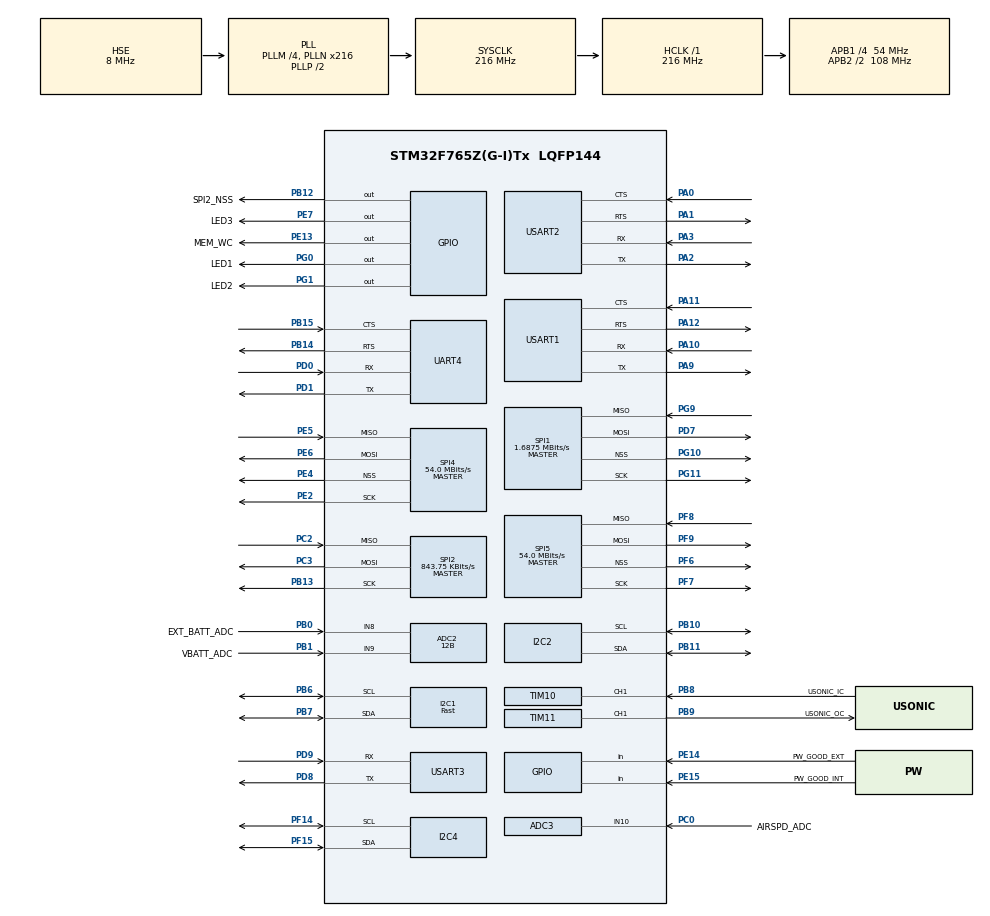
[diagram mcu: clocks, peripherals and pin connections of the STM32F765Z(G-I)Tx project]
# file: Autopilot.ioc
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ADC2.Channel-5\#ChannelRegularConversion=ADC_CHANNEL_8
ADC2.ClockPrescaler=ADC_CLOCK_SYNC_PCLK_DIV4
ADC2.ContinuousConvMode=DISABLE
ADC2.DMAContinuousRequests=DISABLE
ADC2.DataAlign=ADC_DATAALIGN_RIGHT
ADC2.DiscontinuousConvMode=DISABLE
ADC2.EOCSelection=ADC_EOC_SINGLE_CONV
ADC2.EnableAnalogWatchDog=false
ADC2.ExternalTrigConv=ADC_SOFTWARE_START
ADC2.ExternalTrigConvEdge=ADC_EXTERNALTRIGCONVEDGE_NONE
ADC2.InjNumberOfConversion=0
ADC2.NbrOfConversion=1
ADC2.NbrOfConversionFlag=1
ADC2.Rank-5\#ChannelRegularConversion=1
ADC2.Resolution=ADC_RESOLUTION_12B
ADC2.SamplingTime-5\#ChannelRegularConversion=ADC_SAMPLETIME_3CYCLES
ADC2.ScanConvMode=DISABLE
ADC3.Channel-0\#ChannelRegularConversion=ADC_CHANNEL_10
ADC3.ClockPrescaler=ADC_CLOCK_SYNC_PCLK_DIV4
ADC3.ContinuousConvMode=DISABLE
ADC3.DMAContinuousRequests=DISABLE
ADC3.DataAlign=ADC_DATAALIGN_RIGHT
ADC3.DiscontinuousConvMode=DISABLE
ADC3.EOCSelection=ADC_EOC_SINGLE_CONV
ADC3.EnableAnalogWatchDog=false
ADC3.ExternalTrigConv=ADC_SOFTWARE_START
ADC3.ExternalTrigConvEdge=ADC_EXTERNALTRIGCONVEDGE_NONE
ADC3.InjNumberOfConversion=0
ADC3.NbrOfConversion=1
ADC3.NbrOfConversionFlag=1
ADC3.Rank-0\#ChannelRegularConversion=1
ADC3.Resolution=ADC_RESOLUTION_12B
ADC3.SamplingTime-0\#ChannelRegularConversion=ADC_SAMPLETIME_3CYCLES
ADC3.ScanConvMode=DISABLE
FREERTOS.Tasks01=defaultTask,0,128,StartDefaultTask,Default,NULL,Dynamic,NULL,NULL;Interchip,0,128,Interchip_Run,As external,NULL,Dynamic,NULL,NULL
I2C1.I2C_Speed_Mode=I2C_Fast
I2C1.Timing=0x6000030D
I2C2.Timing=0x20404768
I2C4.Timing=0x20404768
Mcu.Family=STM32F7
Mcu.Name=STM32F765Z(G-I)Tx
Mcu.Package=LQFP144
NVIC.I2C1_EV_IRQn=true\:5\:0\:false\:false\:true\:true\:true
NVIC.I2C2_EV_IRQn=true\:5\:0\:false\:false\:true\:true\:true
NVIC.I2C4_EV_IRQn=true\:5\:0\:false\:false\:true\:true\:true
NVIC.PriorityGroup=NVIC_PRIORITYGROUP_4
NVIC.SPI1_IRQn=true\:1\:0\:true\:false\:true\:false\:true
NVIC.SPI2_IRQn=true\:1\:0\:true\:false\:true\:false\:true
NVIC.TIM1_UP_TIM10_IRQn=true\:5\:0\:true\:false\:true\:true\:true
NVIC.TimeBase=TIM4_IRQn
NVIC.TimeBaseIP=TIM4
NVIC.UART4_IRQn=true\:5\:0\:false\:false\:true\:true\:true
NVIC.USART1_IRQn=true\:5\:0\:false\:false\:true\:true\:true
NVIC.USART2_IRQn=true\:5\:0\:false\:false\:true\:true\:true
NVIC.USART3_IRQn=true\:5\:0\:false\:false\:true\:true\:true
NVIC.WWDG_IRQn=true\:0\:0\:true\:false\:true\:false\:true
PA0/WKUP.Mode=CTS_RTS
PA0/WKUP.Signal=USART2_CTS
PA1.Mode=CTS_RTS
PA1.Signal=USART2_RTS
PA10.Mode=Asynchronous
PA10.Signal=USART1_RX
PA11.Mode=CTS_RTS
PA11.Signal=USART1_CTS
PA12.Mode=CTS_RTS
PA12.Signal=USART1_RTS
PA13.Mode=Trace_Asynchronous_SW
PA13.Signal=SYS_JTMS-SWDIO
PA14.Mode=Trace_Asynchronous_SW
PA14.Signal=SYS_JTCK-SWCLK
PA2.Mode=Asynchronous
PA2.Signal=USART2_TX
PA3.Mode=Asynchronous
PA3.Signal=USART2_RX
PA9.Mode=Asynchronous
PA9.Signal=USART1_TX
PB0.GPIO_Label=EXT_BATT_ADC
PB0.Signal=ADCx_IN8
PB1.GPIO_Label=VBATT_ADC
PB1.Signal=ADCx_IN9
PB10.Mode=I2C
PB10.Signal=I2C2_SCL
PB11.Mode=I2C
PB11.Signal=I2C2_SDA
PB12.GPIO_Label=SPI2_NSS
PB12.GPIO_Speed=GPIO_SPEED_FREQ_VERY_HIGH
PB12.Signal=GPIO_Output
PB13.Mode=Full_Duplex_Master
PB13.Signal=SPI2_SCK
PB14.Mode=CTS_RTS
PB14.Signal=UART4_RTS
PB15.Mode=CTS_RTS
PB15.Signal=UART4_CTS
PB3.Mode=Trace_Asynchronous_SW
PB3.Signal=SYS_JTDO-SWO
PB6.Mode=I2C
PB6.Signal=I2C1_SCL
PB7.Mode=I2C
PB7.Signal=I2C1_SDA
PB8.GPIO_Label=USONIC_IC
PB8.Signal=S_TIM10_CH1
PB9.GPIO_Label=USONIC_OC
PB9.Signal=S_TIM11_CH1
PC0.GPIO_Label=AIRSPD_ADC
PC0.Signal=ADCx_IN10
PC14/OSC32_IN.Mode=LSE-External-Oscillator
PC14/OSC32_IN.Signal=RCC_OSC32_IN
PC15/OSC32_OUT.Mode=LSE-External-Oscillator
PC15/OSC32_OUT.Signal=RCC_OSC32_OUT
PC2.Mode=Full_Duplex_Master
PC2.Signal=SPI2_MISO
PC3.Mode=Full_Duplex_Master
PC3.Signal=SPI2_MOSI
PD0.Mode=Asynchronous
PD0.Signal=UART4_RX
PD1.Mode=Asynchronous
PD1.Signal=UART4_TX
PD7.Mode=Full_Duplex_Master
PD7.Signal=SPI1_MOSI
PD8.Mode=Asynchronous
PD8.Signal=USART3_TX
PD9.Mode=Asynchronous
PD9.Signal=USART3_RX
PE13.GPIO_Label=MEM_WC
PE13.PinState=GPIO_PIN_RESET
PE13.Signal=GPIO_Output
PE14.GPIO_Label=PW_GOOD_EXT
PE14.GPIO_PuPd=GPIO_PULLDOWN
PE14.Signal=GPIO_Input
PE15.GPIO_Label=PW_GOOD_INT
PE15.GPIO_PuPd=GPIO_PULLDOWN
PE15.Signal=GPIO_Input
PE2.Mode=Full_Duplex_Master
PE2.Signal=SPI4_SCK
PE4.Mode=NSS_Signal_Hard_Output
PE4.Signal=SPI4_NSS
PE5.Mode=Full_Duplex_Master
PE5.Signal=SPI4_MISO
PE6.Mode=Full_Duplex_Master
PE6.Signal=SPI4_MOSI
PE7.GPIO_Label=LED3
PE7.PinState=GPIO_PIN_RESET
PE7.Signal=GPIO_Output
PF14.Mode=I2C
PF14.Signal=I2C4_SCL
PF15.Mode=I2C
PF15.Signal=I2C4_SDA
PF6.Mode=NSS_Signal_Hard_Output
PF6.Signal=SPI5_NSS
PF7.Mode=Full_Duplex_Master
PF7.Signal=SPI5_SCK
PF8.Mode=Full_Duplex_Master
PF8.Signal=SPI5_MISO
PF9.Mode=Full_Duplex_Master
PF9.Signal=SPI5_MOSI
PG0.GPIO_Label=LED1
PG0.Signal=GPIO_Output
PG1.GPIO_Label=LED2
PG1.Signal=GPIO_Output
PG10.Mode=NSS_Signal_Hard_Output
PG10.Signal=SPI1_NSS
PG11.Mode=Full_Duplex_Master
PG11.Signal=SPI1_SCK
PG9.Mode=Full_Duplex_Master
PG9.Signal=SPI1_MISO
PH0/OSC_IN.Mode=HSE-External-Oscillator
PH0/OSC_IN.Signal=RCC_OSC_IN
PH1/OSC_OUT.Mode=HSE-External-Oscillator
PH1/OSC_OUT.Signal=RCC_OSC_OUT
ProjectManager.HeapSize=0x200
ProjectManager.StackSize=0x400
ProjectManager.TargetToolchain=Makefile
RCC.AHBFreq_Value=216000000
RCC.APB1CLKDivider=RCC_HCLK_DIV4
RCC.APB1Freq_Value=54000000
RCC.APB1TimFreq_Value=108000000
RCC.APB2CLKDivider=RCC_HCLK_DIV2
RCC.APB2Freq_Value=108000000
RCC.APB2TimFreq_Value=216000000
RCC.CortexFreq_Value=216000000
RCC.HCLKFreq_Value=216000000
RCC.HSE_VALUE=8000000
RCC.HSI_VALUE=16000000
RCC.PLLM=4
RCC.PLLN=216
RCC.PLLSourceVirtual=RCC_PLLSOURCE_HSE
RCC.SYSCLKFreq_VALUE=216000000
RCC.SYSCLKSource=RCC_SYSCLKSOURCE_PLLCLK
RCC.USBFreq_Value=216000000
RCC.VCOOutputFreq_Value=432000000
SH.ADCx_IN10.0=ADC3_IN10,IN10
SH.ADCx_IN8.0=ADC2_IN8,IN8
SH.ADCx_IN9.0=ADC2_IN9,IN9
SH.S_TIM10_CH1.0=TIM10_CH1,Input_Capture1_from_TI1
SH.S_TIM11_CH1.0=TIM11_CH1,Output Compare1 CH1
SPI1.BaudRatePrescaler=SPI_BAUDRATEPRESCALER_64
SPI1.CRCCalculation=SPI_CRCCALCULATION_DISABLE
SPI1.CalculateBaudRate=1.6875 MBits/s
SPI1.DataSize=SPI_DATASIZE_16BIT
SPI1.Direction=SPI_DIRECTION_2LINES
SPI1.Mode=SPI_MODE_MASTER
SPI1.NSSPMode=SPI_NSS_PULSE_ENABLE
SPI1.VirtualNSS=VM_NSSHARD
SPI1.VirtualType=VM_MASTER
SPI2.BaudRatePrescaler=SPI_BAUDRATEPRESCALER_64
SPI2.CLKPhase=SPI_PHASE_2EDGE
SPI2.CLKPolarity=SPI_POLARITY_HIGH
SPI2.CalculateBaudRate=843.75 KBits/s
SPI2.DataSize=SPI_DATASIZE_8BIT
SPI2.Direction=SPI_DIRECTION_2LINES
SPI2.FirstBit=SPI_FIRSTBIT_MSB
SPI2.Mode=SPI_MODE_MASTER
SPI2.VirtualType=VM_MASTER
SPI4.BaudRatePrescaler=SPI_BAUDRATEPRESCALER_2
SPI4.CalculateBaudRate=54.0 MBits/s
SPI4.DataSize=SPI_DATASIZE_4BIT
SPI4.Direction=SPI_DIRECTION_2LINES
SPI4.Mode=SPI_MODE_MASTER
SPI4.VirtualNSS=VM_NSSHARD
SPI4.VirtualType=VM_MASTER
SPI5.BaudRatePrescaler=SPI_BAUDRATEPRESCALER_2
SPI5.CalculateBaudRate=54.0 MBits/s
SPI5.Direction=SPI_DIRECTION_2LINES
SPI5.Mode=SPI_MODE_MASTER
SPI5.VirtualNSS=VM_NSSHARD
SPI5.VirtualType=VM_MASTER
TIM10.Channel=TIM_CHANNEL_1
TIM10.ICPolarity_CH1=TIM_INPUTCHANNELPOLARITY_BOTHEDGE
TIM11.Channel=TIM_CHANNEL_1
UART4.WordLength=WORDLENGTH_8B
USART1.VirtualMode-Asynchronous=VM_ASYNC
USART1.WordLength=WORDLENGTH_8B
USART2.VirtualMode-Asynchronous=VM_ASYNC
USART2.WordLength=WORDLENGTH_8B
USART3.VirtualMode-Asynchronous=VM_ASYNC
USART3.WordLength=WORDLENGTH_8B
VP_CRC_VS_CRC.Mode=CRC_Activate
VP_FREERTOS_VS_ENABLE.Mode=Enabled
VP_SYS_VS_tim4.Mode=TIM4
VP_TIM10_VS_ClockSourceINT.Mode=Enable_Timer
VP_TIM10_VS_OPM.Mode=OPM_bit
VP_TIM11_VS_ClockSourceINT.Mode=Enable_Timer
VP_TIM11_VS_OPM.Mode=OPM_bit
VP_WWDG_VS_WWDG.Mode=WWDG_Activate
WWDG.Counter=127
WWDG.EWIMode=WWDG_EWI_ENABLE
WWDG.Prescaler=WWDG_PRESCALER_8
WWDG.Window=80
board=Autopilot

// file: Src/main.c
/**
  ******************************************************************************
  * File Name          : main.c
  * Description        : Main program body
  ******************************************************************************
  * This notice applies to any and all portions of this file
  * that are not between comment pairs USER CODE BEGIN and
  * USER CODE END. Other portions of this file, whether
  * inserted by the user or by software development tools
  * are owned by their respective copyright owners.
  *
  * Copyright (c) 2018 STMicroelectronics International N.V.
  * All rights reserved.
  *
  * Redistribution and use in source and binary forms, with or without
  * modification, are permitted, provided that the following conditions are met:
  *
  * 1. Redistribution of source code must retain the above copyright notice,
  *    this list of conditions and the following disclaimer.
  * 2. Redistributions in binary form must reproduce the above copyright notice,
  *    this list of conditions and the following disclaimer in the documentation
  *    and/or other materials provided with the distribution.
  * 3. Neither the name of STMicroelectronics nor the names of other
  *    contributors to this software may be used to endorse or promote products
  *    derived from this software without specific written permission.
  * 4. This software, including modifications and/or derivative works of this
  *    software, must execute solely and exclusively on microcontroller or
  *    microprocessor devices manufactured by or for STMicroelectronics.
  * 5. Redistribution and use of this software other than as permitted under
  *    this license is void and will automatically terminate your rights under
  *    this license.
  *
  * THIS SOFTWARE IS PROVIDED BY STMICROELECTRONICS AND CONTRIBUTORS "AS IS"
  * AND ANY EXPRESS, IMPLIED OR STATUTORY WARRANTIES, INCLUDING, BUT NOT
  * LIMITED TO, THE IMPLIED WARRANTIES OF MERCHANTABILITY, FITNESS FOR A
  * PARTICULAR PURPOSE AND NON-INFRINGEMENT OF THIRD PARTY INTELLECTUAL PROPERTY
  * RIGHTS ARE DISCLAIMED TO THE FULLEST EXTENT PERMITTED BY LAW. IN NO EVENT
  * SHALL STMICROELECTRONICS OR CONTRIBUTORS BE LIABLE FOR ANY DIRECT, INDIRECT,
  * INCIDENTAL, SPECIAL, EXEMPLARY, OR CONSEQUENTIAL DAMAGES (INCLUDING, BUT NOT
  * LIMITED TO, PROCUREMENT OF SUBSTITUTE GOODS OR SERVICES; LOSS OF USE, DATA,
  * OR PROFITS; OR BUSINESS INTERRUPTION) HOWEVER CAUSED AND ON ANY THEORY OF
  * LIABILITY, WHETHER IN CONTRACT, STRICT LIABILITY, OR TORT (INCLUDING
  * NEGLIGENCE OR OTHERWISE) ARISING IN ANY WAY OUT OF THE USE OF THIS SOFTWARE,
  * EVEN IF ADVISED OF THE POSSIBILITY OF SUCH DAMAGE.
  *
  ******************************************************************************
  */

#include "main.h"
#include "stm32f7xx_hal.h"
#include "cmsis_os.h"
#include "adc.h"
#include "crc.h"
#include "i2c.h"
#include "spi.h"
#include "tim.h"
#include "usart.h"
#include "wwdg.h"
#include "gpio.h"

/* USER CODE BEGIN Includes */
#include "debug.h"
#include "VN100.h"
#include "eeprom.h"
#include "string.h"
/* USER CODE END Includes */

/* USER CODE BEGIN PV */
/* Private variables ---------------------------------------------------------*/

/* USER CODE END PV */

void SystemClock_Config(void);
void MX_FREERTOS_Init(void);

/* USER CODE BEGIN PFP */
/* Private function prototypes -----------------------------------------------*/

/* USER CODE END PFP */

int main(void)
{

  /* MCU Configuration----------------------------------------------------------*/

  /* Reset of all peripherals, Initializes the Flash interface and the Systick. */
  HAL_Init();

  /* Configure the system clock */
  SystemClock_Config();

  /* Initialize all configured peripherals */
  MX_GPIO_Init();
  MX_SPI5_Init();
  MX_SPI4_Init();
  MX_I2C1_Init();
  MX_I2C2_Init();
  MX_I2C4_Init();
  MX_USART2_UART_Init();
  MX_SPI1_Init();
  MX_ADC3_Init();
  MX_ADC2_Init();
  MX_UART4_Init();
  MX_USART3_UART_Init();
  MX_USART1_UART_Init();
  MX_SPI2_Init();
  MX_TIM10_Init();
  MX_TIM11_Init();
  //MX_WWDG_Init();
  MX_CRC_Init();

  /* USER CODE BEGIN 2 */
  debug("\n\nStarting up...");
  debug("Compiled on %s at %s", __DATE__, __TIME__);

  HAL_GPIO_WritePin(LED1_GPIO_Port, LED1_Pin, GPIO_PIN_SET);
  HAL_GPIO_WritePin(SPI2_NSS_GPIO_Port, SPI2_NSS_Pin, GPIO_PIN_SET);

  char model[12];
  VN100_SPI_GetModel(0, model);
  //if (strcmp(model, "VN-100T-SMD") == 0 || strcmp(model, "VN-100T") == 0){
    debug("%s",model);
  //}
  float *imuData = malloc(sizeof(float)*3);
  while(1){

    VN100_SPI_GetYPR(0, &imuData[0], &imuData[1], &imuData[2]);
    //VN100_SPI_GetRates(0, imuData);
    debug("d:%d, %d, %d", (int)(imuData[0]*10), (int)(imuData[1]*10), (int)(imuData[2]*10))
    HAL_Delay(100);
    //VN100_SPI_Reset(0);
  }
  EEPROM_Init();
  /* USER CODE END 2 */

  /* Call init function for freertos objects (in freertos.c) */
  MX_FREERTOS_Init();

  /* Start scheduler */
  osKernelStart();

  /* We should never get here as control is now taken by the scheduler */

  /* Infinite loop */
  while (1)
  {

  }

}

/** System Clock Configuration
*/
void SystemClock_Config(void)
{

  RCC_OscInitTypeDef RCC_OscInitStruct;
  RCC_ClkInitTypeDef RCC_ClkInitStruct;
  RCC_PeriphCLKInitTypeDef PeriphClkInitStruct;

    /**Configure the main internal regulator output voltage
    */
  __HAL_RCC_PWR_CLK_ENABLE();

  __HAL_PWR_VOLTAGESCALING_CONFIG(PWR_REGULATOR_VOLTAGE_SCALE1);

    /**Initializes the CPU, AHB and APB busses clocks
    */
  RCC_OscInitStruct.OscillatorType = RCC_OSCILLATORTYPE_HSE;
  RCC_OscInitStruct.HSEState = RCC_HSE_ON;
  RCC_OscInitStruct.PLL.PLLState = RCC_PLL_ON;
  RCC_OscInitStruct.PLL.PLLSource = RCC_PLLSOURCE_HSE;
  RCC_OscInitStruct.PLL.PLLM = 4;
  RCC_OscInitStruct.PLL.PLLN = 216;
  RCC_OscInitStruct.PLL.PLLP = RCC_PLLP_DIV2;
  RCC_OscInitStruct.PLL.PLLQ = 2;
  if (HAL_RCC_OscConfig(&RCC_OscInitStruct) != HAL_OK)
  {
    _Error_Handler(__FILE__, __LINE__);
  }

    /**Activate the Over-Drive mode
    */
  if (HAL_PWREx_EnableOverDrive() != HAL_OK)
  {
    _Error_Handler(__FILE__, __LINE__);
  }

    /**Initializes the CPU, AHB and APB busses clocks
    */
  RCC_ClkInitStruct.ClockType = RCC_CLOCKTYPE_HCLK|RCC_CLOCKTYPE_SYSCLK
                              |RCC_CLOCKTYPE_PCLK1|RCC_CLOCKTYPE_PCLK2;
  RCC_ClkInitStruct.SYSCLKSource = RCC_SYSCLKSOURCE_PLLCLK;
  RCC_ClkInitStruct.AHBCLKDivider = RCC_SYSCLK_DIV1;
  RCC_ClkInitStruct.APB1CLKDivider = RCC_HCLK_DIV4;
  RCC_ClkInitStruct.APB2CLKDivider = RCC_HCLK_DIV2;

  if (HAL_RCC_ClockConfig(&RCC_ClkInitStruct, FLASH_LATENCY_7) != HAL_OK)
  {
    _Error_Handler(__FILE__, __LINE__);
  }

  PeriphClkInitStruct.PeriphClockSelection = RCC_PERIPHCLK_USART1|RCC_PERIPHCLK_USART2
                              |RCC_PERIPHCLK_USART3|RCC_PERIPHCLK_UART4
                              |RCC_PERIPHCLK_I2C1|RCC_PERIPHCLK_I2C2
                              |RCC_PERIPHCLK_I2C4;
  PeriphClkInitStruct.Usart1ClockSelection = RCC_USART1CLKSOURCE_PCLK2;
  PeriphClkInitStruct.Usart2ClockSelection = RCC_USART2CLKSOURCE_PCLK1;
  PeriphClkInitStruct.Usart3ClockSelection = RCC_USART3CLKSOURCE_PCLK1;
  PeriphClkInitStruct.Uart4ClockSelection = RCC_UART4CLKSOURCE_PCLK1;
  PeriphClkInitStruct.I2c1ClockSelection = RCC_I2C1CLKSOURCE_PCLK1;
  PeriphClkInitStruct.I2c2ClockSelection = RCC_I2C2CLKSOURCE_PCLK1;
  PeriphClkInitStruct.I2c4ClockSelection = RCC_I2C4CLKSOURCE_PCLK1;
  if (HAL_RCCEx_PeriphCLKConfig(&PeriphClkInitStruct) != HAL_OK)
  {
    _Error_Handler(__FILE__, __LINE__);
  }

    /**Configure the Systick interrupt time
    */
  HAL_SYSTICK_Config(HAL_RCC_GetHCLKFreq()/1000);

    /**Configure the Systick
    */
  HAL_SYSTICK_CLKSourceConfig(SYSTICK_CLKSOURCE_HCLK);

  /* SysTick_IRQn interrupt configuration */
  HAL_NVIC_SetPriority(SysTick_IRQn, 15, 0);
}

void HAL_TIM_PeriodElapsedCallback(TIM_HandleTypeDef *htim)
{
  if (htim->Instance == TIM4) {
    HAL_IncTick();
  }
}

void _Error_Handler(char * file, int line)
{
  /* USER CODE BEGIN Error_Handler_Debug */
  /* User can add his own implementation to report the HAL error return state */
  debug("ERROR: [%s] : %d", file, line);
  while(1)
  {
  }
  /* USER CODE END Error_Handler_Debug */
}

/************************ (C) COPYRIGHT STMicroelectronics *****END OF FILE****/

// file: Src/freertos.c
/**
  ******************************************************************************
  * File Name          : freertos.c
  * Description        : Code for freertos applications
  ******************************************************************************
  * This notice applies to any and all portions of this file
  * that are not between comment pairs USER CODE BEGIN and
  * USER CODE END. Other portions of this file, whether
  * inserted by the user or by software development tools
  * are owned by their respective copyright owners.
  *
  * Copyright (c) 2017 STMicroelectronics International N.V.
  * All rights reserved.
  *
  * Redistribution and use in source and binary forms, with or without
  * modification, are permitted, provided that the following conditions are met:
  *
  * 1. Redistribution of source code must retain the above copyright notice,
  *    this list of conditions and the following disclaimer.
  * 2. Redistributions in binary form must reproduce the above copyright notice,
  *    this list of conditions and the following disclaimer in the documentation
  *    and/or other materials provided with the distribution.
  * 3. Neither the name of STMicroelectronics nor the names of other
  *    contributors to this software may be used to endorse or promote products
  *    derived from this software without specific written permission.
  * 4. This software, including modifications and/or derivative works of this
  *    software, must execute solely and exclusively on microcontroller or
  *    microprocessor devices manufactured by or for STMicroelectronics.
  * 5. Redistribution and use of this software other than as permitted under
  *    this license is void and will automatically terminate your rights under
  *    this license.
  *
  * THIS SOFTWARE IS PROVIDED BY STMICROELECTRONICS AND CONTRIBUTORS "AS IS"
  * AND ANY EXPRESS, IMPLIED OR STATUTORY WARRANTIES, INCLUDING, BUT NOT
  * LIMITED TO, THE IMPLIED WARRANTIES OF MERCHANTABILITY, FITNESS FOR A
  * PARTICULAR PURPOSE AND NON-INFRINGEMENT OF THIRD PARTY INTELLECTUAL PROPERTY
  * RIGHTS ARE DISCLAIMED TO THE FULLEST EXTENT PERMITTED BY LAW. IN NO EVENT
  * SHALL STMICROELECTRONICS OR CONTRIBUTORS BE LIABLE FOR ANY DIRECT, INDIRECT,
  * INCIDENTAL, SPECIAL, EXEMPLARY, OR CONSEQUENTIAL DAMAGES (INCLUDING, BUT NOT
  * LIMITED TO, PROCUREMENT OF SUBSTITUTE GOODS OR SERVICES; LOSS OF USE, DATA,
  * OR PROFITS; OR BUSINESS INTERRUPTION) HOWEVER CAUSED AND ON ANY THEORY OF
  * LIABILITY, WHETHER IN CONTRACT, STRICT LIABILITY, OR TORT (INCLUDING
  * NEGLIGENCE OR OTHERWISE) ARISING IN ANY WAY OUT OF THE USE OF THIS SOFTWARE,
  * EVEN IF ADVISED OF THE POSSIBILITY OF SUCH DAMAGE.
  *
  ******************************************************************************
  */

#include "FreeRTOS.h"
#include "task.h"
#include "cmsis_os.h"
#include "Interchip_A.h"

/* USER CODE BEGIN Includes */
#include "debug.h"
/* USER CODE END Includes */

osThreadId defaultTaskHandle;
osThreadId InterchipHandle;

/* USER CODE BEGIN Variables */
uint8_t uart3_buf[UART3_BUF_SIZE];
/* USER CODE END Variables */

void StartDefaultTask(void const * argument);
extern void Interchip_Run(void const * argument);

void MX_FREERTOS_Init(void); /* (MISRA C 2004 rule 8.1) */

/* Hook prototypes */

/* Init FreeRTOS */

void MX_FREERTOS_Init(void) {

  /* Create the thread(s) */
  /* definition and creation of defaultTask */
  osThreadDef(defaultTask, StartDefaultTask, osPriorityNormal, 0, 128);
  defaultTaskHandle = osThreadCreate(osThread(defaultTask), NULL);

  /* definition and creation of Interchip */
  osThreadDef(Interchip, Interchip_Run, osPriorityNormal, 0, 128);
  InterchipHandle = osThreadCreate(osThread(Interchip), NULL);

}

/* StartDefaultTask function */
void StartDefaultTask(void const * argument)
{

  /* USER CODE BEGIN StartDefaultTask */
  // this function will (eventually) start all the threads for the autopilot
  HAL_UART_Receive_IT(&huart3, (uint8_t*)uart3_buf, UART3_BUF_SIZE); // Initiate UART receive transfer

  vTaskDelete(defaultTaskHandle); // delete task when finished
  /* USER CODE END StartDefaultTask */
}

/************************ (C) COPYRIGHT STMicroelectronics *****END OF FILE****/
